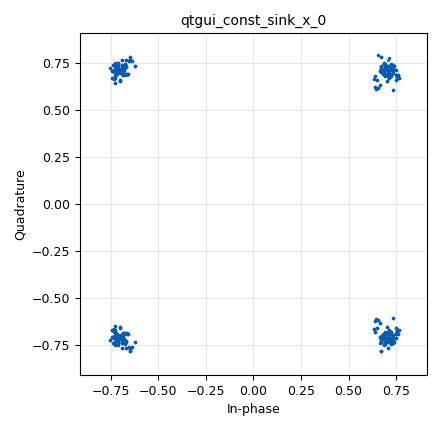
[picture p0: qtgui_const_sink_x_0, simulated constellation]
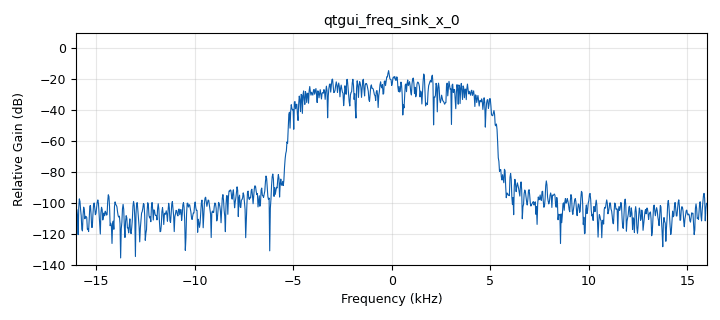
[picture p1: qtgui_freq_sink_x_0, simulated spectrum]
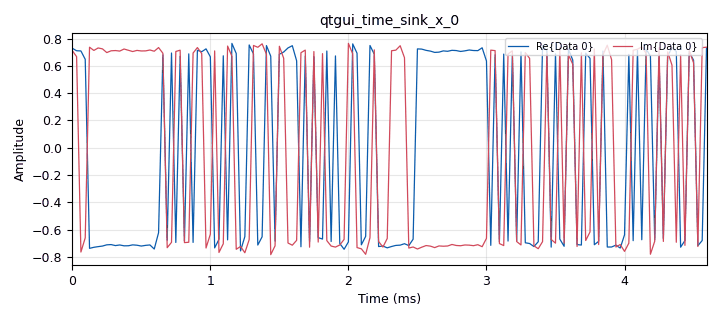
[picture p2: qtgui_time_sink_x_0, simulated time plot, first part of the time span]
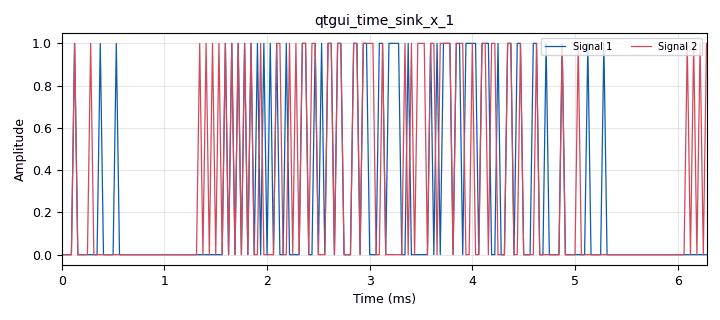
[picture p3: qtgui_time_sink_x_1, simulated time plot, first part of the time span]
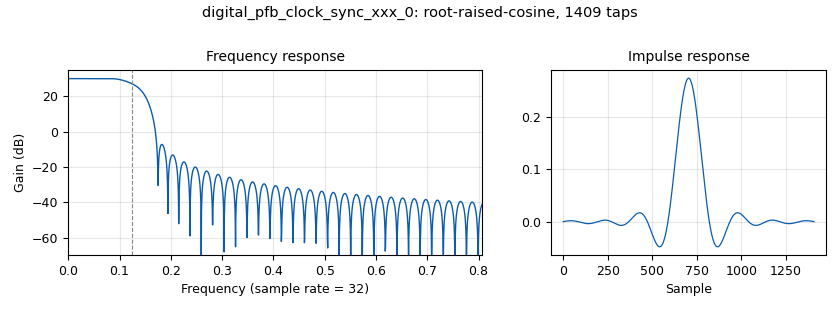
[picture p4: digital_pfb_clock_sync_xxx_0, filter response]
options:
  parameters:
    author: B. Kerler
    generate_options: qt_gui
    id: top
    output_language: python
    title: QPSK Modulation
  states: {}

blocks:
- name: adaptive
  id: variable_adaptive_algorithm
  parameters:
    cons: variable_constellation_0
    modulus: '1'
    step_size: '.0001'
    type: cma
  states: {}
- name: bpsk
  id: variable_constellation_rect
  parameters:
    const_points: '[-1-1j, -1+1j, 1+1j, 1-1j]'
    imag_sect: '2'
    real_sect: '2'
    rot_sym: '4'
    sym_map: '[0, 1, 3, 2]'
    w_imag_sect: '1'
    w_real_sect: '1'
  states: {state: disabled}
- name: freq
  id: variable
  parameters:
    value: 433e6
  states: {state: disabled}
- name: freq_offset
  id: variable_qtgui_range
  parameters:
    label: Frequency Offset
    outputmsgname: value
    showports: 'False'
    start: '-100e-6'
    step: '1e-3'
    stop: '100e-3'
    value: '0'
  states: {}
- name: nfilts
  id: variable
  parameters:
    value: '32'
  states: {}
- name: noise_volt
  id: variable_qtgui_range
  parameters:
    label: Noise Voltage
    outputmsgname: value
    showports: 'False'
    start: '0'
    step: '10e-3'
    stop: '1'
    value: '0'
  states: {}
- name: pss
  id: variable
  parameters:
    value: '0.35'
  states: {}
- name: qpsk
  id: variable_constellation
  parameters:
    precision: '8'
    type: qpsk
  states: {}
- name: rrc_taps
  id: variable
  parameters:
    value: firdes.root_raised_cosine(nfilts, nfilts, 1.0/float(samples_per_sym), 0.35, 11*samples_per_sym*nfilts)
  states: {}
- name: samp_rate
  id: variable
  parameters:
    value: '32000'
  states: {}
- name: samples_per_sym
  id: variable
  parameters:
    value: '4'
  states: {}
- name: time_offset
  id: variable_qtgui_range
  parameters:
    outputmsgname: value
    showports: 'False'
    start: '999e-3'
    step: '100e-6'
    stop: '1000'
    value: '1'
  states: {}
- name: timing_loop_bw
  id: variable_qtgui_range
  parameters:
    gui_hint: 3,1,1,1
    label: 'Time: BW'
    outputmsgname: value
    showports: 'False'
    start: '0.0'
    step: '0.005'
    stop: '0.2'
    value: 2*pi/100
  states: {}
- name: variable_constellation_0
  id: variable_constellation
  parameters:
    precision: '8'
    type: qpsk
  states: {}
- name: analog_random_source_x_0
  id: analog_random_source_x
  parameters:
    max: '256'
    min: '0'
    num_samps: '1000'
    repeat: 'True'
    type: byte
  states: {state: disabled}
- name: blocks_char_to_float_0
  id: blocks_char_to_float
  parameters:
    scale: '1'
  states: {}
- name: blocks_char_to_float_1
  id: blocks_char_to_float
  parameters:
    scale: '1'
  states: {}
- name: blocks_delay_0
  id: blocks_delay
  parameters:
    delay: '50'
    type: float
  states: {}
- name: blocks_file_sink_1
  id: blocks_file_sink
  parameters:
    file: /dev/pts/0
    type: byte
  states: {state: disabled}
- name: blocks_file_source_0
  id: blocks_file_source
  parameters:
    file: test.txt
    repeat: 'True'
    type: byte
  states: {state: disabled}
- name: blocks_multiply_const_vxx_0
  id: blocks_multiply_const_vxx
  parameters:
    const: '0.5'
    type: complex
  states: {state: disabled}
- name: blocks_null_sink_0
  id: blocks_null_sink
  parameters:
    type: byte
  states: {}
- name: blocks_repack_bits_bb_0
  id: blocks_repack_bits_bb
  parameters:
    endianness: gr.GR_LSB_FIRST
    k: '1'
    l: '8'
  states: {state: disabled}
- name: blocks_stream_to_tagged_stream_0
  id: blocks_stream_to_tagged_stream
  parameters:
    len_tag_key: '"packet_len"'
    packet_len: '1'
    type: byte
  states: {state: disabled}
- name: blocks_tagged_stream_mux_0
  id: blocks_tagged_stream_mux
  parameters:
    lengthtagname: packet_len
    ninputs: '2'
    type: byte
  states: {state: disabled}
- name: blocks_throttle_0
  id: blocks_throttle
  parameters:
    samples_per_second: samp_rate
    type: complex
  states: {}
- name: blocks_unpack_k_bits_bb_0
  id: blocks_unpack_k_bits_bb
  parameters:
    comment: |-
      K=1 for BPSK
      K=2 for QPSK
    k: '2'
  states: {}
- name: blocks_unpack_k_bits_bb_1
  id: blocks_unpack_k_bits_bb
  parameters:
    k: '8'
  states: {}
- name: blocks_vector_source_x_0
  id: blocks_vector_source_x
  parameters:
    repeat: 'True'
    type: byte
    vector: (85, 85, 72,101,108,108,111,32,87,111,114,108,100,32,33,0,0,0,0)
  states: {}
- name: channels_channel_model_0
  id: channels_channel_model
  parameters:
    epsilon: time_offset
    freq_offset: freq_offset
    noise_voltage: noise_volt
    seed: '0'
    taps: '1'
  states: {}
- name: digital_constellation_decoder_cb_0
  id: digital_constellation_decoder_cb
  parameters:
    constellation: variable_constellation_0
  states: {}
- name: digital_constellation_modulator_0
  id: digital_constellation_modulator
  parameters:
    comment: |-
      Excess BW = Pulse Shaping Shape
      higher PSS means higher Bandwidth
    constellation: qpsk
    differential: 'True'
    excess_bw: pss
    samples_per_symbol: samples_per_sym
  states: {}
- name: digital_correlate_access_code_xx_ts_0
  id: digital_correlate_access_code_xx_ts
  parameters:
    access_code: digital.packet_utils.default_access_code
    threshold: '0'
    type: byte
  states: {state: disabled}
- name: digital_costas_loop_cc_0
  id: digital_costas_loop_cc
  parameters:
    comment: |-
      Phase and fine freq correction
      Order = 4 for QPSK, 2 for BPSK, 8 for 8PSK
    order: '4'
    w: 2*pi/100
  states: {}
- name: digital_diff_decoder_bb_0
  id: digital_diff_decoder_bb
  parameters:
    coding: digital.DIFF_DIFFERENTIAL
    modulus: '4'
  states: {}
- name: digital_linear_equalizer_0
  id: digital_linear_equalizer
  parameters:
    alg: adaptive
    comment: Handle multi-path issues
    num_taps: '15'
    sps: '1'
    training_sequence: '[]'
  states: {}
- name: digital_map_bb_0
  id: digital_map_bb
  parameters:
    map: '[0,1,2,3]'
  states: {}
- name: digital_pfb_clock_sync_xxx_0
  id: digital_pfb_clock_sync_xxx
  parameters:
    comment: Do time recovery and use a root raised filter for reducing inter signal inteference
    filter_size: nfilts
    init_phase: nfilts/2
    loop_bw: timing_loop_bw
    max_dev: '1.5'
    osps: '1'
    sps: samples_per_sym
    taps: rrc_taps
    type: ccf
  states: {}
- name: digital_protocol_formatter_bb_0
  id: digital_protocol_formatter_bb
  parameters:
    format: hdr_format
    len_tag_key: '"packet_len"'
  states: {state: disabled}
- name: epy_block_0
  id: epy_block
  parameters:
    _source_code: |
      """
      Embedded Python Blocks:

      Each time this file is saved, GRC will instantiate the first class it finds
      to get ports and parameters of your block. The arguments to __init__  will
      be the parameters. All of them are required to have default values!
      """

      import numpy as np
      from gnuradio import gr
      from binascii import hexlify

      class blk(gr.sync_block):  # other base classes are basic_block, decim_block, interp_block
          """Embedded Python Block example - a simple multiply const"""

          def __init__(self, msglen=20, tag=[1,0,1,0,1,0,1,0], verbose=True):  # only default arguments here
              """arguments to this function show up as parameters in GRC"""
              gr.sync_block.__init__(
                  self,
                  name='Tag Debugger',   # will show up in GRC
                  in_sig=[np.byte],
                  out_sig=[np.byte]
              )
              # if an attribute with the same name as a parameter is found,
              # a callback is registered (properties work, too).
              self.msglen = msglen*8
              self.tag = tag
              self.verbose = verbose

          def work(self, input_items, output_items):
              if len(input_items[0])>8:
                 curitems=len(input_items[0])
                 idx=0
                 pos=-1
                 for i in range(curitems): 
                    if input_items[0][i]==self.tag[idx]:
                       idx+=1
                    else:
                       idx=0
                    if idx==len(self.tag):
                       pos=i+1
                       break
                                 
                 if pos!=-1:
                    msglen=self.msglen
                    if curitems-pos>msglen:
                       if self.verbose:
                          print("Tag found")
                       o=0
                       data=input_items[0][pos:pos+msglen]
                       debug=""
                       for val in data:
                           debug+="%d" % val
                           output_items[0][o]=val
                           o+=1
                       if self.verbose:
                          print(debug)
                          if debug!='':
                             debug=int.to_bytes(int(debug,2),length=msglen//8,byteorder='big')
                             print(debug)
                       return o
                 else:
                     self.consume(0, curitems)
              return 0
    msglen: '13'
    tag: '[0,1,0,1,0,1,0,1,0,1,0,1,0,1,0,1]'
    verbose: 'True'
  states: {}
- name: hdr_format
  id: parameter
  parameters:
    label: Packet Header
    value: digital.header_format_default(digital.packet_utils.default_access_code,0)
  states: {state: disabled}
- name: import_0
  id: import
  parameters:
    imports: from math import pi
  states: {}
- name: osmosdr_source_0
  id: osmosdr_source
  parameters:
    bb_gain0: '20'
    freq0: freq
    gain0: '10'
    gain_mode0: 'False'
    if_gain0: '20'
    sample_rate: samp_rate
    sync: pc_clock
    type: fc32
  states: {state: disabled}
- name: qtgui_const_sink_x_0
  id: qtgui_const_sink_x
  parameters:
    autoscale: 'True'
    grid: 'True'
    size: '1024'
    type: complex
  states: {}
- name: qtgui_freq_sink_x_0
  id: qtgui_freq_sink_x
  parameters:
    bw: samp_rate
    fc: '0'
    fftsize: '1024'
    type: complex
  states: {}
- name: qtgui_time_sink_x_0
  id: qtgui_time_sink_x
  parameters:
    autoscale: 'True'
    grid: 'True'
    size: '1024'
    srate: samp_rate
    type: complex
  states: {}
- name: qtgui_time_sink_x_1
  id: qtgui_time_sink_x
  parameters:
    autoscale: 'True'
    grid: 'True'
    nconnections: '2'
    size: '1024'
    srate: samp_rate
    type: float
  states: {}
- name: uhd_usrp_sink_0
  id: uhd_usrp_sink
  parameters:
    ant0: '"TX/RX"'
    center_freq0: freq
    gain0: '70'
    samp_rate: samp_rate
    sync: pc_clock
    type: fc32
  states: {state: disabled}
- name: virtual_sink_0
  id: virtual_sink
  parameters:
    stream_id: mod
  states: {}
- name: virtual_sink_1
  id: virtual_sink
  parameters:
    stream_id: demod
  states: {}
- name: virtual_sink_1_0
  id: virtual_sink
  parameters:
    stream_id: demod
  states: {state: disabled}
- name: virtual_sink_2
  id: virtual_sink
  parameters:
    stream_id: recovery
  states: {}
- name: virtual_sink_3
  id: virtual_sink
  parameters:
    stream_id: output_byte
  states: {}
- name: virtual_source_0
  id: virtual_source
  parameters:
    stream_id: recovery
  states: {}
- name: virtual_source_1
  id: virtual_source
  parameters:
    comment: |-
      Add noise + real world interference
      Simulate real would noise
    stream_id: mod
  states: {}
- name: virtual_source_2
  id: virtual_source
  parameters:
    comment: Demodulate signal
    stream_id: demod
  states: {}
- name: virtual_source_3
  id: virtual_source
  parameters:
    alias: display
    comment: Decoder
    stream_id: recovery
  states: {}
- name: virtual_source_4
  id: virtual_source
  parameters:
    comment: Compare with original source and delay
    stream_id: output_byte
  states: {}
- name: virtual_source_5
  id: virtual_source
  parameters:
    stream_id: mod
  states: {state: disabled}

connections:
- [analog_random_source_x_0, '0', digital_constellation_modulator_0, '0']
- [blocks_char_to_float_0, '0', qtgui_time_sink_x_1, '0']
- [blocks_char_to_float_1, '0', blocks_delay_0, '0']
- [blocks_delay_0, '0', qtgui_time_sink_x_1, '1']
- [blocks_file_source_0, '0', blocks_stream_to_tagged_stream_0, '0']
- [blocks_multiply_const_vxx_0, '0', uhd_usrp_sink_0, '0']
- [blocks_repack_bits_bb_0, '0', blocks_file_sink_1, '0']
- [blocks_stream_to_tagged_stream_0, '0', blocks_tagged_stream_mux_0, '1']
- [blocks_stream_to_tagged_stream_0, '0', digital_protocol_formatter_bb_0, '0']
- [blocks_tagged_stream_mux_0, '0', blocks_unpack_k_bits_bb_1, '0']
- [blocks_tagged_stream_mux_0, '0', digital_constellation_modulator_0, '0']
- [blocks_throttle_0, '0', channels_channel_model_0, '0']
- [blocks_unpack_k_bits_bb_0, '0', blocks_char_to_float_0, '0']
- [blocks_unpack_k_bits_bb_0, '0', digital_correlate_access_code_xx_ts_0, '0']
- [blocks_unpack_k_bits_bb_0, '0', epy_block_0, '0']
- [blocks_unpack_k_bits_bb_1, '0', virtual_sink_3, '0']
- [blocks_vector_source_x_0, '0', blocks_unpack_k_bits_bb_1, '0']
- [blocks_vector_source_x_0, '0', digital_constellation_modulator_0, '0']
- [channels_channel_model_0, '0', virtual_sink_1, '0']
- [digital_constellation_decoder_cb_0, '0', digital_diff_decoder_bb_0, '0']
- [digital_constellation_modulator_0, '0', qtgui_freq_sink_x_0, '0']
- [digital_constellation_modulator_0, '0', virtual_sink_0, '0']
- [digital_correlate_access_code_xx_ts_0, '0', blocks_repack_bits_bb_0, '0']
- [digital_costas_loop_cc_0, '0', virtual_sink_2, '0']
- [digital_diff_decoder_bb_0, '0', digital_map_bb_0, '0']
- [digital_linear_equalizer_0, '0', digital_costas_loop_cc_0, '0']
- [digital_map_bb_0, '0', blocks_unpack_k_bits_bb_0, '0']
- [digital_pfb_clock_sync_xxx_0, '0', digital_linear_equalizer_0, '0']
- [digital_protocol_formatter_bb_0, '0', blocks_tagged_stream_mux_0, '0']
- [epy_block_0, '0', blocks_null_sink_0, '0']
- [osmosdr_source_0, '0', virtual_sink_1_0, '0']
- [virtual_source_0, '0', qtgui_const_sink_x_0, '0']
- [virtual_source_0, '0', qtgui_time_sink_x_0, '0']
- [virtual_source_1, '0', blocks_throttle_0, '0']
- [virtual_source_2, '0', digital_pfb_clock_sync_xxx_0, '0']
- [virtual_source_3, '0', digital_constellation_decoder_cb_0, '0']
- [virtual_source_4, '0', blocks_char_to_float_1, '0']
- [virtual_source_5, '0', blocks_multiply_const_vxx_0, '0']

metadata:
  file_format: 1
  grc_version: v3.11.0.0git-215-g9a698313
